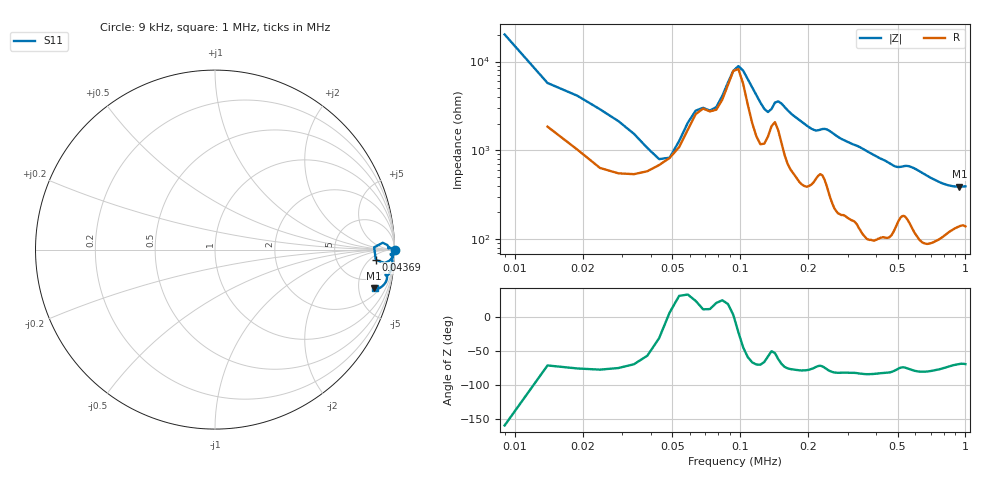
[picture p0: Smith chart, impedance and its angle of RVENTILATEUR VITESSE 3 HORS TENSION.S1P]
!Agilent Technologies,E5071C,MY46109397,A.09.54
!Date: Mon Jan 01 01:23:45 2001
!Data & Calibration Information:
!Freq	S11:SOLT1(ON)
# Hz S RI R 50
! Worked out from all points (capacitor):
!   201 points, 9 kHz to 1 MHz, reference 50 ohm
!   read as one part to ground: C = 1.77 nF near 13.96 kHz
!   lowest |Z| = 389 ohm at 940.5 kHz (marker M1)
!   series resonance near 47.68 kHz, so ESL is about 6.3 mH
!   S11 on the Smith chart (normalised r, x): 9 kHz: open; 43.69 kHz: 14, -8; 1 MHz: 2.79, -7.36
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9000  1.005 -0.00172
28820  0.9869 -0.0448
33775  0.9756 -0.0596
38730  0.947 -0.0747
43685  0.896 -0.058
48640  0.8867 0.0128
53595  0.9344 0.0383
58550  0.9596 0.0258
63505  0.9678 0.014
73415  0.9657 0.00711
83325  0.9781 0.01
93235  0.9874 0.000735
118010  0.9915 -0.0223
132875  0.9801 -0.0308
142785  0.9825 -0.0227
162605  0.9907 -0.034
207200  0.9852 -0.0547
227020  0.9802 -0.0544
256750  0.988 -0.0621
380625  0.9829 -0.1062
459905  0.9706 -0.1345
504500  0.9522 -0.1431
554050  0.9537 -0.1394
628375  0.9574 -0.1647
752250  0.9313 -0.2048
876125  0.8965 -0.2181
940540  0.8872 -0.2163
1000000  0.8894 -0.2149
